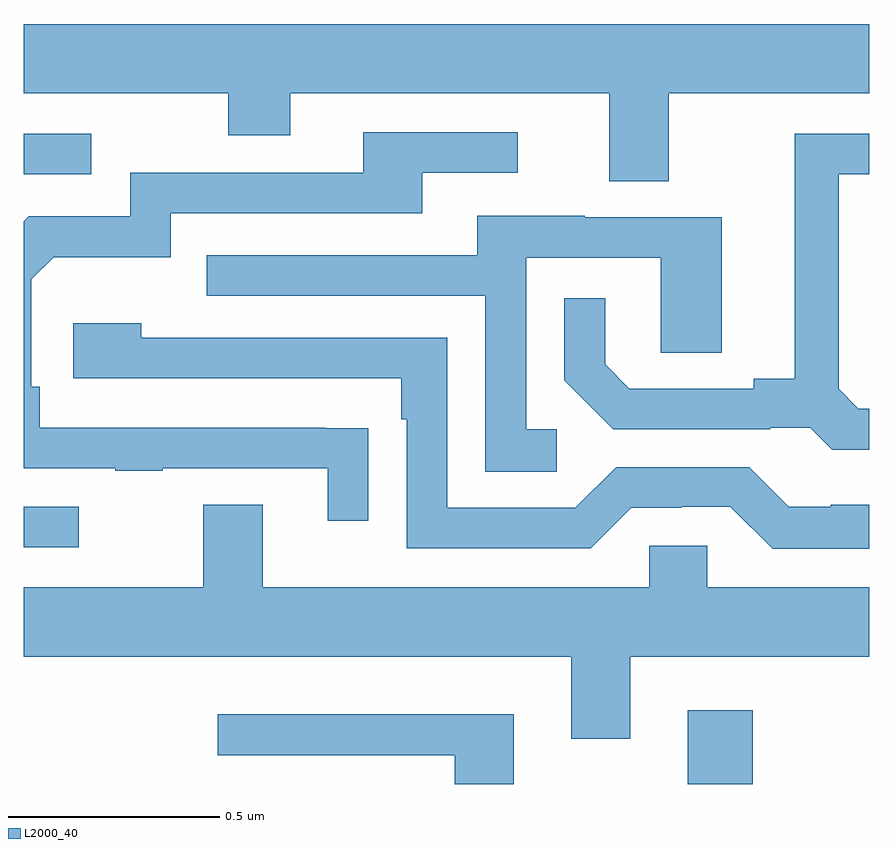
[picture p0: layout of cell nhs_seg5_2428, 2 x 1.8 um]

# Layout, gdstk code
import gdstk
lib = gdstk.Library(unit=1e-6, precision=1e-09)
def R(c, l, rs):  # rectangles x0, y0, x1, y1
    for r in rs: c.add(gdstk.rectangle(r[:2], r[2:], *l))
def P(c, l, *ps):  # polygons
    for p in ps: c.add(gdstk.Polygon(p, *l))
L2000_40 = (2000, 40)

nhs_seg5_2428 = lib.new_cell('nhs_seg5_2428')
R(nhs_seg5_2428, L2000_40, [(145.571,849.799,145.724,849.973), (144,850.359,144.13,850.455), (144,851.241,144.16,851.337)])
P(nhs_seg5_2428, L2000_40, [(145.525,851.432),(146,851.432),(146,851.596),(144,851.596),(144,851.432),(144.484,851.432),(144.484,851.333),(144.631,851.333),(144.631,851.432),(145.385,851.432),(145.385,851.224),(145.525,851.224)],
  [(144.815,850.64),(144.713,850.64),(144.713,850.641),(144.038,850.641),(144.038,850.738),(144.018,850.738),(144.018,850.992),(144.071,851.045),(144.348,851.045),(144.348,851.148),(144.943,851.148),(144.943,851.244),(145.168,851.244),(145.168,851.34),(144.803,851.34),(144.803,851.244),(144.252,851.244),(144.252,851.142),(144.012,851.142),(144,851.13),(144,850.545),(144.217,850.545),(144.217,850.54),(144.329,850.54),(144.329,850.545),(144.719,850.545),(144.719,850.422),(144.815,850.422)],
  [(146,850.686),(145.974,850.686),(145.927,850.733),(145.927,851.241),(146,851.241),(146,851.337),(145.823,851.337),(145.823,850.757),(145.727,850.757),(145.727,850.734),(145.432,850.734),(145.375,850.791),(145.375,850.948),(145.278,850.948),(145.278,850.754),(145.394,850.638),(145.766,850.638),(145.766,850.641),(145.86,850.641),(145.912,850.589),(146,850.589)],
  [(145.261,850.638),(145.188,850.638),(145.188,851.043),(145.506,851.043),(145.506,850.819),(145.651,850.819),(145.651,851.139),(145.327,851.139),(145.327,851.143),(145.073,851.143),(145.073,851.049),(144.433,851.049),(144.433,850.953),(145.092,850.953),(145.092,850.537),(145.261,850.537)],
  [(146,850.459),(145.909,850.459),(145.909,850.455),(145.809,850.455),(145.716,850.548),(145.401,850.548),(145.305,850.452),(145.002,850.452),(145.002,850.854),(144.278,850.854),(144.278,850.888),(144.117,850.888),(144.117,850.758),(144.893,850.758),(144.893,850.661),(144.906,850.661),(144.906,850.356),(145.341,850.356),(145.437,850.452),(145.556,850.452),(145.556,850.455),(145.671,850.455),(145.771,850.355),(146,850.355)],
  [(145.479,850.362),(145.479,850.264),(144.565,850.264),(144.565,850.459),(144.425,850.459),(144.425,850.264),(144,850.264),(144,850.1),(145.295,850.1),(145.295,849.906),(145.435,849.906),(145.435,850.1),(146,850.1),(146,850.264),(145.617,850.264),(145.617,850.362)],
  [(145.159,849.964),(144.459,849.964),(144.459,849.867),(145.019,849.867),(145.019,849.799),(145.159,849.799)])

lib.write_gds('nhs_seg5_2428.gds')
